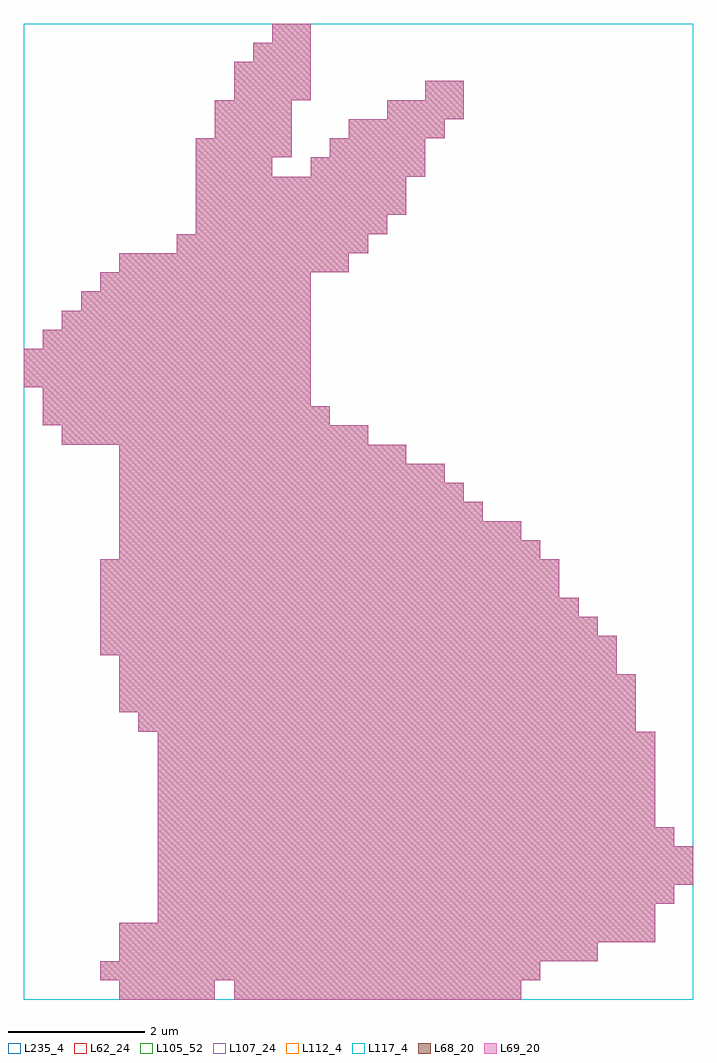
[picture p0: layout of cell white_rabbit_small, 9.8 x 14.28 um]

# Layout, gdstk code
import gdstk
lib = gdstk.Library(unit=1e-6, precision=1e-09)
def R(c, l, rs):  # rectangles x0, y0, x1, y1
    for r in rs: c.add(gdstk.rectangle(r[:2], r[2:], *l))
def A(c, l, x, y, w, h, nx, ny, dx, dy):  # array of equal rectangles
    R(c, l, [(x+i*dx, y+j*dy, x+i*dx+w, y+j*dy+h) for i in range(nx) for j in range(ny)])
L62_24 = (62, 24)
L68_20 = (68, 20)
L69_20 = (69, 20)
L105_52 = (105, 52)
L107_24 = (107, 24)
L112_4 = (112, 4)
L117_4 = (117, 4)
L235_4 = (235, 4)

white_rabbit_small = lib.new_cell('white_rabbit_small')
R(white_rabbit_small, L62_24, [(0,0,9.8,14.28)])
A(white_rabbit_small, L68_20, 1.4, 0, 0.28, 0.28, 5, 1, 0.28, 0)
A(white_rabbit_small, L68_20, 3.08, 0, 0.28, 0.28, 15, 1, 0.28, 0)
A(white_rabbit_small, L68_20, 1.12, 0.28, 0.28, 0.28, 23, 1, 0.28, 0)
A(white_rabbit_small, L68_20, 1.4, 0.56, 0.28, 0.28, 25, 1, 0.28, 0)
A(white_rabbit_small, L68_20, 1.4, 0.84, 0.28, 0.28, 28, 1, 0.28, 0)
A(white_rabbit_small, L68_20, 1.96, 1.12, 0.28, 0.28, 26, 2, 0.28, 1.4)
A(white_rabbit_small, L68_20, 1.96, 1.4, 0.28, 0.28, 27, 2, 0.28, 0.84)
A(white_rabbit_small, L68_20, 1.96, 1.68, 0.28, 0.28, 28, 2, 0.28, 0.28)
A(white_rabbit_small, L68_20, 1.96, 2.8, 0.28, 0.28, 26, 4, 0.28, 0.28)
A(white_rabbit_small, L68_20, 1.68, 3.92, 0.28, 0.28, 26, 1, 0.28, 0)
A(white_rabbit_small, L68_20, 1.4, 4.2, 0.28, 0.28, 27, 2, 0.28, 0.28)
A(white_rabbit_small, L68_20, 1.4, 4.76, 0.28, 0.28, 26, 1, 0.28, 0)
A(white_rabbit_small, L68_20, 1.12, 5.04, 0.28, 0.28, 27, 1, 0.28, 0)
A(white_rabbit_small, L68_20, 1.12, 5.32, 0.28, 0.28, 26, 1, 0.28, 0)
A(white_rabbit_small, L68_20, 1.12, 5.6, 0.28, 0.28, 25, 1, 0.28, 0)
A(white_rabbit_small, L68_20, 1.12, 5.88, 0.28, 0.28, 24, 2, 0.28, 0.28)
A(white_rabbit_small, L68_20, 1.4, 6.44, 0.28, 0.28, 22, 1, 0.28, 0)
A(white_rabbit_small, L68_20, 1.4, 6.72, 0.28, 0.28, 21, 1, 0.28, 0)
A(white_rabbit_small, L68_20, 1.4, 7, 0.28, 0.28, 19, 1, 0.28, 0)
A(white_rabbit_small, L68_20, 1.4, 7.28, 0.28, 0.28, 18, 1, 0.28, 0)
A(white_rabbit_small, L68_20, 1.4, 7.56, 0.28, 0.28, 17, 1, 0.28, 0)
A(white_rabbit_small, L68_20, 1.4, 7.84, 0.28, 0.28, 15, 1, 0.28, 0)
A(white_rabbit_small, L68_20, 0.56, 8.12, 0.28, 0.28, 16, 1, 0.28, 0)
A(white_rabbit_small, L68_20, 0.28, 8.4, 0.28, 0.28, 15, 1, 0.28, 0)
A(white_rabbit_small, L68_20, 0.28, 8.68, 0.28, 0.28, 14, 2, 0.28, 0.84)
A(white_rabbit_small, L68_20, 0, 8.96, 0.28, 0.28, 15, 2, 0.28, 0.28)
A(white_rabbit_small, L68_20, 0.56, 9.8, 0.28, 0.28, 13, 1, 0.28, 0)
A(white_rabbit_small, L68_20, 0.84, 10.08, 0.28, 0.28, 12, 1, 0.28, 0)
A(white_rabbit_small, L68_20, 1.12, 10.36, 0.28, 0.28, 11, 1, 0.28, 0)
A(white_rabbit_small, L68_20, 1.4, 10.64, 0.28, 0.28, 12, 1, 0.28, 0)
A(white_rabbit_small, L68_20, 2.24, 10.92, 0.28, 0.28, 10, 1, 0.28, 0)
A(white_rabbit_small, L68_20, 2.52, 11.2, 0.28, 0.28, 10, 1, 0.28, 0)
A(white_rabbit_small, L68_20, 2.52, 11.48, 0.28, 0.28, 11, 2, 0.28, 0.28)
A(white_rabbit_small, L68_20, 2.52, 12.04, 0.28, 0.28, 4, 1, 0.28, 0)
A(white_rabbit_small, L68_20, 4.2, 12.04, 0.28, 0.28, 6, 1, 0.28, 0)
A(white_rabbit_small, L68_20, 2.52, 12.32, 0.28, 0.28, 5, 1, 0.28, 0)
A(white_rabbit_small, L68_20, 4.48, 12.32, 0.28, 0.28, 5, 1, 0.28, 0)
A(white_rabbit_small, L68_20, 2.8, 12.6, 0.28, 0.28, 4, 2, 0.28, 0.28)
A(white_rabbit_small, L68_20, 4.76, 12.6, 0.28, 0.28, 5, 1, 0.28, 0)
A(white_rabbit_small, L68_20, 5.32, 12.88, 0.28, 0.28, 4, 1, 0.28, 0)
A(white_rabbit_small, L68_20, 3.08, 13.16, 0.28, 0.28, 4, 2, 0.28, 0.28)
A(white_rabbit_small, L68_20, 3.36, 13.72, 0.28, 0.28, 3, 1, 0.28, 0)
R(white_rabbit_small, L68_20, [(5.88,13.16,6.16,13.44), (6.16,13.16,6.44,13.44), (3.64,14,3.92,14.28), (3.92,14,4.2,14.28)])
A(white_rabbit_small, L69_20, 1.4, 0, 0.28, 0.28, 5, 1, 0.28, 0)
A(white_rabbit_small, L69_20, 3.08, 0, 0.28, 0.28, 15, 1, 0.28, 0)
A(white_rabbit_small, L69_20, 1.12, 0.28, 0.28, 0.28, 23, 1, 0.28, 0)
A(white_rabbit_small, L69_20, 1.4, 0.56, 0.28, 0.28, 25, 1, 0.28, 0)
A(white_rabbit_small, L69_20, 1.4, 0.84, 0.28, 0.28, 28, 1, 0.28, 0)
A(white_rabbit_small, L69_20, 1.96, 1.12, 0.28, 0.28, 26, 2, 0.28, 1.4)
A(white_rabbit_small, L69_20, 1.96, 1.4, 0.28, 0.28, 27, 2, 0.28, 0.84)
A(white_rabbit_small, L69_20, 1.96, 1.68, 0.28, 0.28, 28, 2, 0.28, 0.28)
A(white_rabbit_small, L69_20, 1.96, 2.8, 0.28, 0.28, 26, 4, 0.28, 0.28)
A(white_rabbit_small, L69_20, 1.68, 3.92, 0.28, 0.28, 26, 1, 0.28, 0)
A(white_rabbit_small, L69_20, 1.4, 4.2, 0.28, 0.28, 27, 2, 0.28, 0.28)
A(white_rabbit_small, L69_20, 1.4, 4.76, 0.28, 0.28, 26, 1, 0.28, 0)
A(white_rabbit_small, L69_20, 1.12, 5.04, 0.28, 0.28, 27, 1, 0.28, 0)
A(white_rabbit_small, L69_20, 1.12, 5.32, 0.28, 0.28, 26, 1, 0.28, 0)
A(white_rabbit_small, L69_20, 1.12, 5.6, 0.28, 0.28, 25, 1, 0.28, 0)
A(white_rabbit_small, L69_20, 1.12, 5.88, 0.28, 0.28, 24, 2, 0.28, 0.28)
A(white_rabbit_small, L69_20, 1.4, 6.44, 0.28, 0.28, 22, 1, 0.28, 0)
A(white_rabbit_small, L69_20, 1.4, 6.72, 0.28, 0.28, 21, 1, 0.28, 0)
A(white_rabbit_small, L69_20, 1.4, 7, 0.28, 0.28, 19, 1, 0.28, 0)
A(white_rabbit_small, L69_20, 1.4, 7.28, 0.28, 0.28, 18, 1, 0.28, 0)
A(white_rabbit_small, L69_20, 1.4, 7.56, 0.28, 0.28, 17, 1, 0.28, 0)
A(white_rabbit_small, L69_20, 1.4, 7.84, 0.28, 0.28, 15, 1, 0.28, 0)
A(white_rabbit_small, L69_20, 0.56, 8.12, 0.28, 0.28, 16, 1, 0.28, 0)
A(white_rabbit_small, L69_20, 0.28, 8.4, 0.28, 0.28, 15, 1, 0.28, 0)
A(white_rabbit_small, L69_20, 0.28, 8.68, 0.28, 0.28, 14, 2, 0.28, 0.84)
A(white_rabbit_small, L69_20, 0, 8.96, 0.28, 0.28, 15, 2, 0.28, 0.28)
A(white_rabbit_small, L69_20, 0.56, 9.8, 0.28, 0.28, 13, 1, 0.28, 0)
A(white_rabbit_small, L69_20, 0.84, 10.08, 0.28, 0.28, 12, 1, 0.28, 0)
A(white_rabbit_small, L69_20, 1.12, 10.36, 0.28, 0.28, 11, 1, 0.28, 0)
A(white_rabbit_small, L69_20, 1.4, 10.64, 0.28, 0.28, 12, 1, 0.28, 0)
A(white_rabbit_small, L69_20, 2.24, 10.92, 0.28, 0.28, 10, 1, 0.28, 0)
A(white_rabbit_small, L69_20, 2.52, 11.2, 0.28, 0.28, 10, 1, 0.28, 0)
A(white_rabbit_small, L69_20, 2.52, 11.48, 0.28, 0.28, 11, 2, 0.28, 0.28)
A(white_rabbit_small, L69_20, 2.52, 12.04, 0.28, 0.28, 4, 1, 0.28, 0)
A(white_rabbit_small, L69_20, 4.2, 12.04, 0.28, 0.28, 6, 1, 0.28, 0)
A(white_rabbit_small, L69_20, 2.52, 12.32, 0.28, 0.28, 5, 1, 0.28, 0)
A(white_rabbit_small, L69_20, 4.48, 12.32, 0.28, 0.28, 5, 1, 0.28, 0)
A(white_rabbit_small, L69_20, 2.8, 12.6, 0.28, 0.28, 4, 2, 0.28, 0.28)
A(white_rabbit_small, L69_20, 4.76, 12.6, 0.28, 0.28, 5, 1, 0.28, 0)
A(white_rabbit_small, L69_20, 5.32, 12.88, 0.28, 0.28, 4, 1, 0.28, 0)
A(white_rabbit_small, L69_20, 3.08, 13.16, 0.28, 0.28, 4, 2, 0.28, 0.28)
A(white_rabbit_small, L69_20, 3.36, 13.72, 0.28, 0.28, 3, 1, 0.28, 0)
R(white_rabbit_small, L69_20, [(5.88,13.16,6.16,13.44), (6.16,13.16,6.44,13.44), (3.64,14,3.92,14.28), (3.92,14,4.2,14.28)])
R(white_rabbit_small, L105_52, [(0,0,9.8,14.28)])
R(white_rabbit_small, L107_24, [(0,0,9.8,14.28)])
R(white_rabbit_small, L112_4, [(0,0,9.8,14.28)])
R(white_rabbit_small, L117_4, [(0,0,9.8,14.28)])
R(white_rabbit_small, L235_4, [(0,0,9.8,14.28)])

lib.write_gds('white_rabbit_small.gds')
